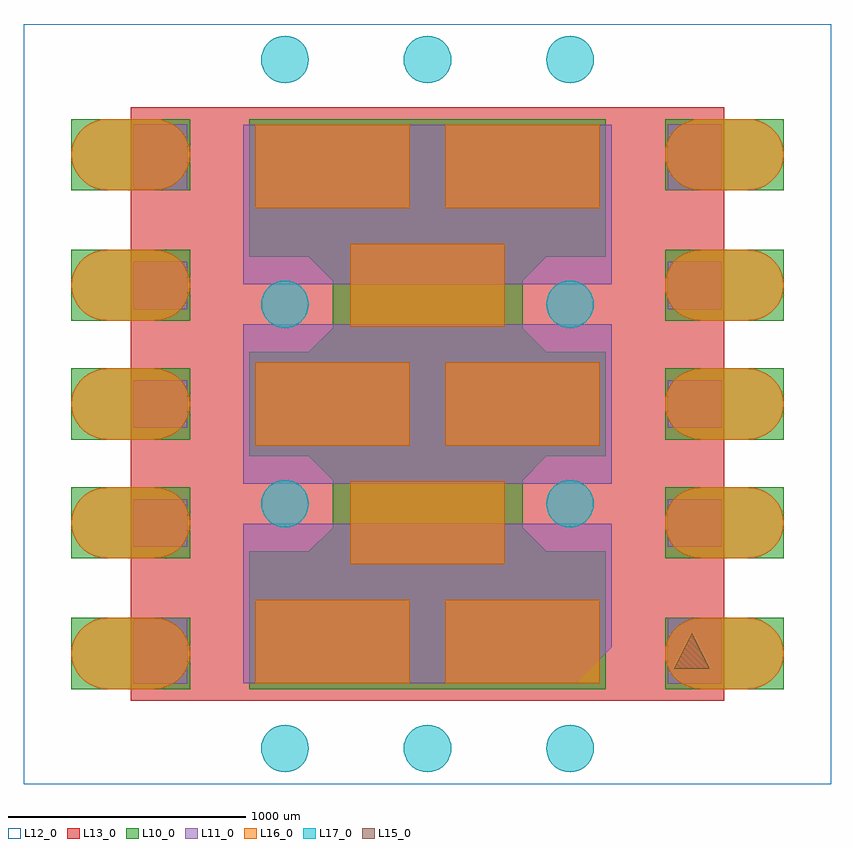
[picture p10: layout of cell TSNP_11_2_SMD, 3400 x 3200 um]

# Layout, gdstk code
import gdstk
lib = gdstk.Library(unit=1e-6, precision=1e-09)
def R(c, l, rs):  # rectangles x0, y0, x1, y1
    for r in rs: c.add(gdstk.rectangle(r[:2], r[2:], *l))
def A(c, l, x, y, w, h, nx, ny, dx, dy):  # array of equal rectangles
    R(c, l, [(x+i*dx, y+j*dy, x+i*dx+w, y+j*dy+h) for i in range(nx) for j in range(ny)])
def P(c, l, *ps):  # polygons
    for p in ps: c.add(gdstk.Polygon(p, *l))
L10_0 = (10, 0)
L11_0 = (11, 0)
L12_0 = (12, 0)
L13_0 = (13, 0)
L15_0 = (15, 0)
L16_0 = (16, 0)
L17_0 = (17, 0)

tsnp_11_2_smd = lib.new_cell('TSNP_11_2_SMD')
A(tsnp_11_2_smd, L10_0, -1500, -650, 500, 300, 1, 3, 0, 500)
A(tsnp_11_2_smd, L10_0, 1000, -650, 500, 300, 1, 3, 0, 500)
R(tsnp_11_2_smd, L10_0, [(-1500,-1200,-1000,-900), (1000,-1200,1500,-900), (-1500,900,-1000,1200), (1000,900,1500,1200)])
P(tsnp_11_2_smd, L10_0, [(750,-620),(500,-620),(400,-520),(400,-320),(500,-220),(750,-220),(750,220),(500,220),(400,320),(400,520),(500,620),(750,620),(750,1200),(-750,1200),(-750,620),(-500,620),(-400,520),(-400,320),(-500,220),(-750,220),(-750,-220),(-500,-220),(-400,-320),(-400,-520),(-500,-620),(-750,-620),(-750,-1200),(750,-1200)])
A(tsnp_11_2_smd, L11_0, -1237.5, -600, 225, 200, 1, 3, 0, 500)
A(tsnp_11_2_smd, L11_0, 1012.5, -600, 225, 200, 1, 3, 0, 500)
R(tsnp_11_2_smd, L11_0, [(-1237.5,-1177.5,-1012.5,-902.5), (1012.5,-1177.5,1237.5,-902.5), (-775,-335,775,335), (-775,505,775,1175), (-1237.5,902.5,-1012.5,1177.5), (1012.5,902.5,1237.5,1177.5)])
P(tsnp_11_2_smd, L11_0, [(775,-505),(775,-1025),(625,-1175),(-775,-1175),(-775,-505)])
R(tsnp_11_2_smd, L12_0, [(-1700,-1600,1700,1600)])
R(tsnp_11_2_smd, L13_0, [(-1250,-1250,1250,1250)])
P(tsnp_11_2_smd, L15_0, [(1113,-965),(1038,-1115),(1188,-1115)])
A(tsnp_11_2_smd, L16_0, -725, -1175, 650, 350, 1, 3, 0, 1000)
A(tsnp_11_2_smd, L16_0, 75, -1175, 650, 350, 1, 3, 0, 1000)
R(tsnp_11_2_smd, L16_0, [(-325,-675,325,-325), (-325,325,325,675)])
P(tsnp_11_2_smd, L16_0, [(1009,-51),(1020,-75),(1035,-96),(1054,-115),(1075,-130),(1099,-141),(1124,-148),(1150,-150),(1350,-150),(1376,-148),(1401,-141),(1425,-130),(1446,-115),(1465,-96),(1480,-75),(1491,-51),(1498,-26),(1500,0),(1498,26),(1491,51),(1480,75),(1465,96),(1446,115),(1425,130),(1401,141),(1376,148),(1350,150),(1150,150),(1124,148),(1099,141),(1075,130),(1054,115),(1035,96),(1020,75),(1009,51),(1002,26),(1000,0),(1002,-26)],
  [(-1491,-51),(-1480,-75),(-1465,-96),(-1446,-115),(-1425,-130),(-1401,-141),(-1376,-148),(-1350,-150),(-1150,-150),(-1124,-148),(-1099,-141),(-1075,-130),(-1054,-115),(-1035,-96),(-1020,-75),(-1009,-51),(-1002,-26),(-1000,0),(-1002,26),(-1009,51),(-1020,75),(-1035,96),(-1054,115),(-1075,130),(-1099,141),(-1124,148),(-1150,150),(-1350,150),(-1376,148),(-1401,141),(-1425,130),(-1446,115),(-1465,96),(-1480,75),(-1491,51),(-1498,26),(-1500,0),(-1498,-26)],
  [(1009,999),(1020,975),(1035,954),(1054,935),(1075,920),(1099,909),(1124,902),(1150,900),(1350,900),(1376,902),(1401,909),(1425,920),(1446,935),(1465,954),(1480,975),(1491,999),(1498,1024),(1500,1050),(1498,1076),(1491,1101),(1480,1125),(1465,1146),(1446,1165),(1425,1180),(1401,1191),(1376,1198),(1350,1200),(1150,1200),(1124,1198),(1099,1191),(1075,1180),(1054,1165),(1035,1146),(1020,1125),(1009,1101),(1002,1076),(1000,1050),(1002,1024)],
  [(1009,-551),(1020,-575),(1035,-596),(1054,-615),(1075,-630),(1099,-641),(1124,-648),(1150,-650),(1350,-650),(1376,-648),(1401,-641),(1425,-630),(1446,-615),(1465,-596),(1480,-575),(1491,-551),(1498,-526),(1500,-500),(1498,-474),(1491,-449),(1480,-425),(1465,-404),(1446,-385),(1425,-370),(1401,-359),(1376,-352),(1350,-350),(1150,-350),(1124,-352),(1099,-359),(1075,-370),(1054,-385),(1035,-404),(1020,-425),(1009,-449),(1002,-474),(1000,-500),(1002,-526)],
  [(1009,-1101),(1020,-1125),(1035,-1146),(1054,-1165),(1075,-1180),(1099,-1191),(1124,-1198),(1150,-1200),(1350,-1200),(1376,-1198),(1401,-1191),(1425,-1180),(1446,-1165),(1465,-1146),(1480,-1125),(1491,-1101),(1498,-1076),(1500,-1050),(1498,-1024),(1491,-999),(1480,-975),(1465,-954),(1446,-935),(1425,-920),(1401,-909),(1376,-902),(1350,-900),(1150,-900),(1124,-902),(1099,-909),(1075,-920),(1054,-935),(1035,-954),(1020,-975),(1009,-999),(1002,-1024),(1000,-1050),(1002,-1076)],
  [(-1491,449),(-1480,425),(-1465,404),(-1446,385),(-1425,370),(-1401,359),(-1376,352),(-1350,350),(-1150,350),(-1124,352),(-1099,359),(-1075,370),(-1054,385),(-1035,404),(-1020,425),(-1009,449),(-1002,474),(-1000,500),(-1002,526),(-1009,551),(-1020,575),(-1035,596),(-1054,615),(-1075,630),(-1099,641),(-1124,648),(-1150,650),(-1350,650),(-1376,648),(-1401,641),(-1425,630),(-1446,615),(-1465,596),(-1480,575),(-1491,551),(-1498,526),(-1500,500),(-1498,474)],
  [(1009,449),(1020,425),(1035,404),(1054,385),(1075,370),(1099,359),(1124,352),(1150,350),(1350,350),(1376,352),(1401,359),(1425,370),(1446,385),(1465,404),(1480,425),(1491,449),(1498,474),(1500,500),(1498,526),(1491,551),(1480,575),(1465,596),(1446,615),(1425,630),(1401,641),(1376,648),(1350,650),(1150,650),(1124,648),(1099,641),(1075,630),(1054,615),(1035,596),(1020,575),(1009,551),(1002,526),(1000,500),(1002,474)],
  [(-1491,999),(-1480,975),(-1465,954),(-1446,935),(-1425,920),(-1401,909),(-1376,902),(-1350,900),(-1150,900),(-1124,902),(-1099,909),(-1075,920),(-1054,935),(-1035,954),(-1020,975),(-1009,999),(-1002,1024),(-1000,1050),(-1002,1076),(-1009,1101),(-1020,1125),(-1035,1146),(-1054,1165),(-1075,1180),(-1099,1191),(-1124,1198),(-1150,1200),(-1350,1200),(-1376,1198),(-1401,1191),(-1425,1180),(-1446,1165),(-1465,1146),(-1480,1125),(-1491,1101),(-1498,1076),(-1500,1050),(-1498,1024)],
  [(-1491,-551),(-1480,-575),(-1465,-596),(-1446,-615),(-1425,-630),(-1401,-641),(-1376,-648),(-1350,-650),(-1150,-650),(-1124,-648),(-1099,-641),(-1075,-630),(-1054,-615),(-1035,-596),(-1020,-575),(-1009,-551),(-1002,-526),(-1000,-500),(-1002,-474),(-1009,-449),(-1020,-425),(-1035,-404),(-1054,-385),(-1075,-370),(-1099,-359),(-1124,-352),(-1150,-350),(-1350,-350),(-1376,-352),(-1401,-359),(-1425,-370),(-1446,-385),(-1465,-404),(-1480,-425),(-1491,-449),(-1498,-474),(-1500,-500),(-1498,-526)],
  [(-1491,-1101),(-1480,-1125),(-1465,-1146),(-1446,-1165),(-1425,-1180),(-1401,-1191),(-1376,-1198),(-1350,-1200),(-1150,-1200),(-1124,-1198),(-1099,-1191),(-1075,-1180),(-1054,-1165),(-1035,-1146),(-1020,-1125),(-1009,-1101),(-1002,-1076),(-1000,-1050),(-1002,-1024),(-1009,-999),(-1020,-975),(-1035,-954),(-1054,-935),(-1075,-920),(-1099,-909),(-1124,-902),(-1150,-900),(-1350,-900),(-1376,-902),(-1401,-909),(-1425,-920),(-1446,-935),(-1465,-954),(-1480,-975),(-1491,-999),(-1498,-1024),(-1500,-1050),(-1498,-1076)])
P(tsnp_11_2_smd, L17_0, [(-506,-454),(-513,-470),(-523,-484),(-536,-497),(-550,-507),(-566,-514),(-583,-519),(-600,-520),(-617,-519),(-634,-514),(-650,-507),(-664,-497),(-677,-484),(-687,-470),(-694,-454),(-699,-437),(-700,-420),(-699,-403),(-694,-386),(-687,-370),(-677,-356),(-664,-343),(-650,-333),(-634,-326),(-617,-322),(-600,-320),(-583,-322),(-566,-326),(-550,-333),(-536,-343),(-523,-356),(-513,-370),(-506,-386),(-502,-403),(-500,-420),(-502,-437)],
  [(694,-454),(687,-470),(677,-484),(664,-497),(650,-507),(634,-514),(617,-519),(600,-520),(583,-519),(566,-514),(550,-507),(536,-497),(523,-484),(513,-470),(506,-454),(502,-437),(500,-420),(502,-403),(506,-386),(513,-370),(523,-356),(536,-343),(550,-333),(566,-326),(583,-322),(600,-320),(617,-322),(634,-326),(650,-333),(664,-343),(677,-356),(687,-370),(694,-386),(699,-403),(700,-420),(699,-437)],
  [(-506,386),(-513,370),(-523,356),(-536,343),(-550,333),(-566,326),(-583,322),(-600,320),(-617,322),(-634,326),(-650,333),(-664,343),(-677,356),(-687,370),(-694,386),(-699,403),(-700,420),(-699,437),(-694,454),(-687,470),(-677,484),(-664,497),(-650,507),(-634,514),(-617,519),(-600,520),(-583,519),(-566,514),(-550,507),(-536,497),(-523,484),(-513,470),(-506,454),(-502,437),(-500,420),(-502,403)],
  [(-506,-1484),(-513,-1500),(-523,-1514),(-536,-1527),(-550,-1537),(-566,-1544),(-583,-1549),(-600,-1550),(-617,-1549),(-634,-1544),(-650,-1537),(-664,-1527),(-677,-1514),(-687,-1500),(-694,-1484),(-699,-1467),(-700,-1450),(-699,-1433),(-694,-1416),(-687,-1400),(-677,-1386),(-664,-1373),(-650,-1363),(-634,-1356),(-617,-1352),(-600,-1350),(-583,-1352),(-566,-1356),(-550,-1363),(-536,-1373),(-523,-1386),(-513,-1400),(-506,-1416),(-502,-1433),(-500,-1450),(-502,-1467)],
  [(694,1416),(687,1400),(677,1386),(664,1373),(650,1363),(634,1356),(617,1352),(600,1350),(583,1352),(566,1356),(550,1363),(536,1373),(523,1386),(513,1400),(506,1416),(502,1433),(500,1450),(502,1467),(506,1484),(513,1500),(523,1514),(536,1527),(550,1537),(566,1544),(583,1549),(600,1550),(617,1549),(634,1544),(650,1537),(664,1527),(677,1514),(687,1500),(694,1484),(699,1467),(700,1450),(699,1433)],
  [(694,386),(687,370),(677,356),(664,343),(650,333),(634,326),(617,322),(600,320),(583,322),(566,326),(550,333),(536,343),(523,356),(513,370),(506,386),(502,403),(500,420),(502,437),(506,454),(513,470),(523,484),(536,497),(550,507),(566,514),(583,519),(600,520),(617,519),(634,514),(650,507),(664,497),(677,484),(687,470),(694,454),(699,437),(700,420),(699,403)],
  [(94,-1484),(87,-1500),(77,-1514),(64,-1527),(50,-1537),(34,-1544),(17,-1549),(0,-1550),(-17,-1549),(-34,-1544),(-50,-1537),(-64,-1527),(-77,-1514),(-87,-1500),(-94,-1484),(-99,-1467),(-100,-1450),(-99,-1433),(-94,-1416),(-87,-1400),(-77,-1386),(-64,-1373),(-50,-1363),(-34,-1356),(-17,-1352),(0,-1350),(17,-1352),(34,-1356),(50,-1363),(64,-1373),(77,-1386),(87,-1400),(94,-1416),(99,-1433),(100,-1450),(99,-1467)],
  [(694,-1484),(687,-1500),(677,-1514),(664,-1527),(650,-1537),(634,-1544),(617,-1549),(600,-1550),(583,-1549),(566,-1544),(550,-1537),(536,-1527),(523,-1514),(513,-1500),(506,-1484),(502,-1467),(500,-1450),(502,-1433),(506,-1416),(513,-1400),(523,-1386),(536,-1373),(550,-1363),(566,-1356),(583,-1352),(600,-1350),(617,-1352),(634,-1356),(650,-1363),(664,-1373),(677,-1386),(687,-1400),(694,-1416),(699,-1433),(700,-1450),(699,-1467)],
  [(-506,1416),(-513,1400),(-523,1386),(-536,1373),(-550,1363),(-566,1356),(-583,1352),(-600,1350),(-617,1352),(-634,1356),(-650,1363),(-664,1373),(-677,1386),(-687,1400),(-694,1416),(-699,1433),(-700,1450),(-699,1467),(-694,1484),(-687,1500),(-677,1514),(-664,1527),(-650,1537),(-634,1544),(-617,1549),(-600,1550),(-583,1549),(-566,1544),(-550,1537),(-536,1527),(-523,1514),(-513,1500),(-506,1484),(-502,1467),(-500,1450),(-502,1433)],
  [(94,1416),(87,1400),(77,1386),(64,1373),(50,1363),(34,1356),(17,1352),(0,1350),(-17,1352),(-34,1356),(-50,1363),(-64,1373),(-77,1386),(-87,1400),(-94,1416),(-99,1433),(-100,1450),(-99,1467),(-94,1484),(-87,1500),(-77,1514),(-64,1527),(-50,1537),(-34,1544),(-17,1549),(0,1550),(17,1549),(34,1544),(50,1537),(64,1527),(77,1514),(87,1500),(94,1484),(99,1467),(100,1450),(99,1433)])

lib.write_gds('TSNP_11_2_SMD.gds')
